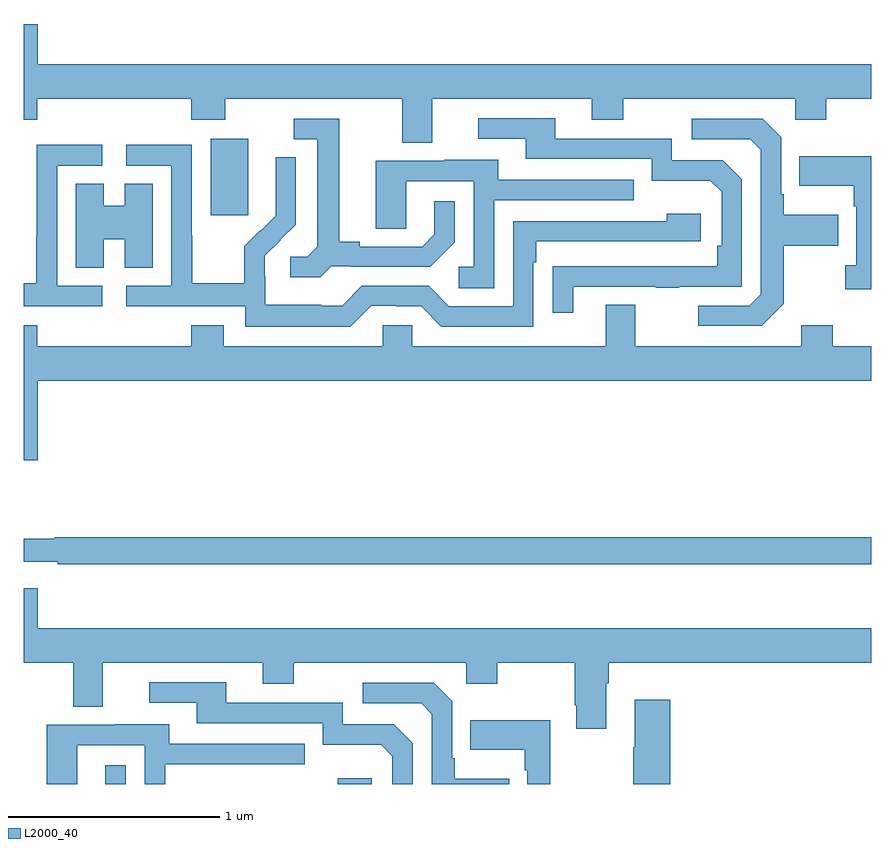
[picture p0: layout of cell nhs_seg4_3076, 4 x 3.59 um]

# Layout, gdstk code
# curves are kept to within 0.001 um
import gdstk
lib = gdstk.Library(unit=1e-6, precision=1e-09)
def R(c, l, rs):  # rectangles x0, y0, x1, y1
    for r in rs: c.add(gdstk.rectangle(r[:2], r[2:], *l))
def P(c, l, *ps):  # polygons
    for p in ps: c.add(gdstk.Polygon(p, *l))
L2000_40 = (2000, 40)

nhs_seg4_3076 = lib.new_cell('nhs_seg4_3076')
R(nhs_seg4_3076, L2000_40, [(273.383,810.9,273.48,810.988), (274.481,810.9,274.642,810.928), (273.881,813.585,274.06,813.946)])
P(nhs_seg4_3076, L2000_40, [(274.927,814.136),(275.681,814.136),(275.681,814.037),(275.829,814.037),(275.829,814.136),(276.642,814.136),(276.642,814.037),(276.789,814.037),(276.789,814.136),(277,814.136),(277,814.3),(273.064,814.3),(273.064,814.489),(273,814.489),(273,814.037),(273.062,814.037),(273.062,814.136),(273.791,814.136),(273.791,814.037),(273.951,814.037),(273.951,814.136),(274.787,814.136),(274.787,813.928),(274.927,813.928)],
  [(275.593,813.249),(275.983,813.249),(275.983,813.244),(276.095,813.244),(276.095,813.249),(276.39,813.249),(276.39,813.756),(276.3,813.846),(276.06,813.846),(276.06,813.948),(275.509,813.948),(275.509,814.044),(275.145,814.044),(275.145,813.948),(275.369,813.948),(275.369,813.852),(275.964,813.852),(275.964,813.749),(276.241,813.749),(276.294,813.696),(276.294,813.442),(276.274,813.442),(276.274,813.345),(275.497,813.344),(275.497,813.126),(275.593,813.126)],
  [(274.452,813.345),(274.546,813.345),(274.546,813.342),(274.918,813.342),(275.034,813.458),(275.034,813.652),(274.937,813.652),(274.937,813.495),(274.88,813.438),(274.585,813.438),(274.585,813.461),(274.489,813.461),(274.489,814.041),(274.275,814.041),(274.275,813.945),(274.385,813.945),(274.385,813.437),(274.338,813.39),(274.257,813.39),(274.257,813.293),(274.4,813.293)],
  [(276.589,813.169),(276.589,813.442),(276.845,813.442),(276.845,813.589),(276.589,813.589),(276.589,813.685),(276.576,813.685),(276.576,813.954),(276.489,814.041),(276.153,814.041),(276.153,813.945),(276.429,813.945),(276.48,813.894),(276.48,813.213),(276.426,813.159),(276.183,813.159),(276.183,813.063),(276.483,813.063)],
  [(274.641,813.159),(274.757,813.159),(274.757,813.156),(274.875,813.156),(274.971,813.06),(275.406,813.06),(275.406,813.365),(275.419,813.365),(275.419,813.462),(276.196,813.462),(276.196,813.592),(276.035,813.592),(276.035,813.558),(275.31,813.558),(275.31,813.156),(275.007,813.156),(274.911,813.252),(274.596,813.252),(274.503,813.159),(274.403,813.159),(274.403,813.163),(274.14,813.163),(274.14,813.297),(274.138,813.297),(274.138,813.394),(274.284,813.542),(274.284,813.86),(274.188,813.86),(274.188,813.706),(274.19,813.706),(274.19,813.584),(274.119,813.513),(274.116,813.516),(274.039,813.439),(274.039,813.265),(273.795,813.265),(273.795,813.488),(273.792,813.488),(273.792,813.918),(273.483,813.918),(273.483,813.819),(273.696,813.819),(273.696,813.252),(273.483,813.252),(273.483,813.156),(274.044,813.156),(274.044,813.059),(274.541,813.059)],
  [(273.37,813.252),(273.156,813.252),(273.156,813.819),(273.37,813.819),(273.37,813.918),(273.06,813.918),(273.06,813.488),(273.058,813.488),(273.058,813.265),(273,813.265),(273,813.156),(273.37,813.156)],
  [(277,813.865),(276.661,813.865),(276.661,813.725),(276.918,813.725),(276.918,813.629),(276.93,813.629),(276.93,813.35),(276.879,813.35),(276.879,813.237),(277,813.237)],
  [(275.22,813.657),(275.879,813.657),(275.879,813.753),(275.239,813.753),(275.239,813.847),(274.985,813.847),(274.985,813.843),(274.661,813.843),(274.661,813.523),(274.806,813.523),(274.806,813.747),(275.124,813.747),(275.124,813.342),(275.052,813.342),(275.052,813.241),(275.22,813.241)],
  [(273.376,813.473),(273.476,813.473),(273.476,813.337),(273.607,813.337),(273.607,813.734),(273.476,813.734),(273.476,813.631),(273.376,813.631),(273.376,813.734),(273.245,813.734),(273.245,813.337),(273.376,813.337)],
  [(273.064,812.804),(277,812.804),(277,812.968),(276.819,812.968),(276.819,813.067),(276.671,813.067),(276.671,812.968),(275.887,812.968),(275.887,813.163),(275.747,813.163),(275.747,812.968),(274.833,812.968),(274.833,813.066),(274.695,813.066),(274.695,812.968),(273.943,812.968),(273.943,813.067),(273.791,813.067),(273.791,812.968),(273.062,812.968),(273.062,813.067),(273,813.067),(273,812.43),(273.064,812.43)],
  [(277,812.066),(273.146,812.066),(273.146,812.059),(273,812.059),(273,811.95),(273.16,811.95),(273.16,811.938),(277,811.938)],
  [(275.749,811.376),(275.762,811.376),(275.762,811.472),(277,811.472),(277,811.636),(273.064,811.636),(273.064,811.825),(273,811.825),(273,811.472),(273.233,811.472),(273.233,811.264),(273.373,811.264),(273.373,811.472),(274.127,811.472),(274.127,811.373),(274.275,811.373),(274.275,811.472),(275.088,811.472),(275.088,811.373),(275.235,811.373),(275.235,811.472),(275.602,811.472),(275.602,811.273),(275.609,811.273),(275.609,811.161),(275.749,811.161)],
  [(274.836,811.092),(274.746,811.182),(274.506,811.182),(274.506,811.284),(273.955,811.284),(273.955,811.38),(273.591,811.38),(273.591,811.284),(273.815,811.284),(273.815,811.188),(274.41,811.188),(274.41,811.085),(274.687,811.085),(274.74,811.032),(274.74,810.9),(274.836,810.9)],
  [(275.291,810.925),(275.035,810.925),(275.035,811.021),(275.022,811.021),(275.022,811.29),(274.935,811.377),(274.599,811.377),(274.599,811.281),(274.875,811.281),(274.926,811.23),(274.926,810.9),(275.291,810.9)],
  [(276.053,811.297),(275.885,811.297),(275.885,811.073),(275.878,811.073),(275.878,810.9),(276.053,810.9)],
  [(275.485,811.201),(275.107,811.201),(275.107,811.061),(275.364,811.061),(275.364,810.965),(275.376,810.965),(275.376,810.9),(275.485,810.9)],
  [(273.252,811.083),(273.57,811.083),(273.57,810.9),(273.666,810.9),(273.666,810.993),(274.325,810.993),(274.325,811.089),(273.685,811.089),(273.685,811.183),(273.431,811.183),(273.431,811.179),(273.107,811.179),(273.107,810.9),(273.252,810.9)])

lib.write_gds('nhs_seg4_3076.gds')
